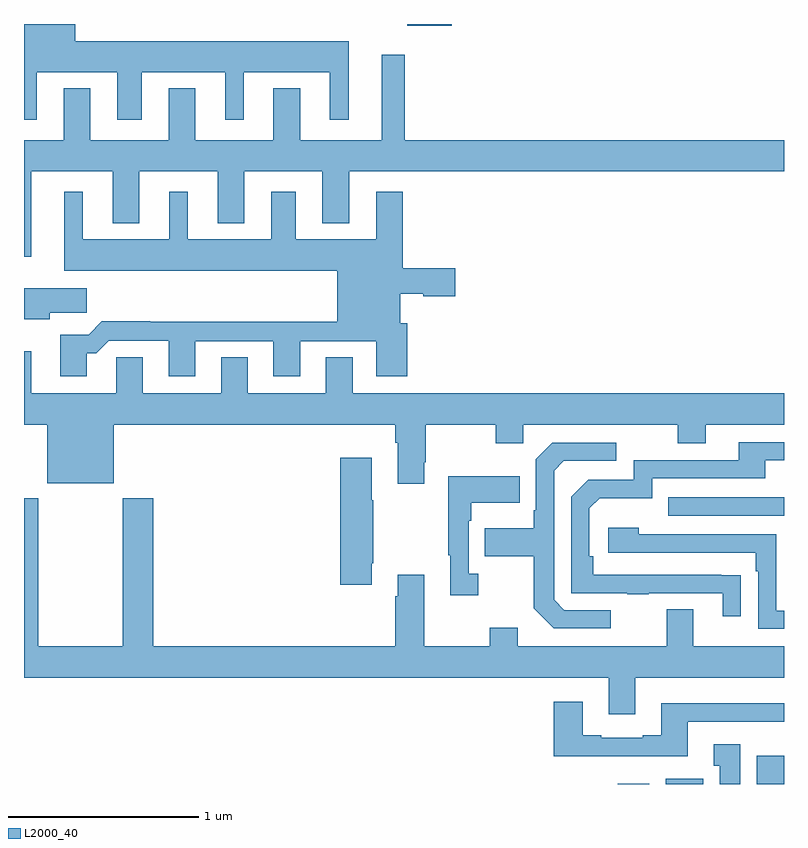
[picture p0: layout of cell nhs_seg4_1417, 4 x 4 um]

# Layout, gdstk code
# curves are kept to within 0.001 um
import gdstk
lib = gdstk.Library(unit=1e-6, precision=1e-09)
def R(c, l, rs):  # rectangles x0, y0, x1, y1
    for r in rs: c.add(gdstk.rectangle(r[:2], r[2:], *l))
def P(c, l, *ps):  # polygons
    for p in ps: c.add(gdstk.Polygon(p, *l))
L2000_40 = (2000, 40)

nhs_seg4_1417 = lib.new_cell('nhs_seg4_1417')
R(nhs_seg4_1417, L2000_40, [(186.125,822.9,186.292,822.901), (186.377,822.9,186.574,822.928), (186.857,822.9,187,823.048), (186.391,824.313,187,824.409), (185.016,826.892,185.251,826.9)])
P(nhs_seg4_1417, L2000_40, [(183.067,826.646),(183.491,826.646),(183.491,826.395),(183.619,826.395),(183.619,826.646),(184.058,826.646),(184.058,826.395),(184.156,826.395),(184.156,826.646),(184.61,826.646),(184.61,826.395),(184.708,826.395),(184.708,826.81),(183.271,826.81),(183.271,826.9),(183,826.9),(183,826.395),(183.067,826.395)],
  [(183.037,826.124),(183.467,826.124),(183.467,825.851),(183.607,825.851),(183.607,826.124),(184.019,826.124),(184.019,825.851),(184.159,825.851),(184.159,826.124),(184.571,826.124),(184.571,825.851),(184.711,825.851),(184.711,826.124),(187,826.124),(187,826.288),(185.005,826.288),(185.005,826.738),(184.883,826.738),(184.883,826.288),(184.453,826.288),(184.453,826.561),(184.313,826.561),(184.313,826.288),(183.901,826.288),(183.901,826.561),(183.761,826.561),(183.761,826.288),(183.349,826.288),(183.349,826.561),(183.209,826.561),(183.209,826.288),(183,826.288),(183,825.675),(183.037,825.675)],
  [(183.331,825.167),(183.38,825.167),(183.447,825.234),(183.761,825.234),(183.761,825.045),(183.901,825.045),(183.901,825.231),(184.313,825.231),(184.313,825.045),(184.453,825.045),(184.453,825.231),(184.853,825.231),(184.853,825.045),(185.018,825.045),(185.018,825.324),(184.981,825.324),(184.981,825.479),(185.101,825.479),(185.101,825.467),(185.269,825.467),(185.269,825.614),(184.994,825.614),(184.994,826.018),(184.853,826.018),(184.853,825.766),(184.429,825.766),(184.429,826.018),(184.301,826.018),(184.301,825.766),(183.862,825.766),(183.862,826.018),(183.764,826.018),(183.764,825.766),(183.31,825.766),(183.31,826.018),(183.212,826.018),(183.212,825.602),(184.649,825.602),(184.649,825.332),(183.665,825.332),(183.665,825.335),(183.41,825.335),(183.34,825.265),(183.191,825.265),(183.191,825.045),(183.331,825.045)],
  [(183.136,825.379),(183.331,825.379),(183.331,825.508),(183,825.508),(183,825.347),(183.136,825.347)],
  [(185.107,824.593),(185.115,824.593),(185.115,824.792),(185.482,824.792),(185.482,824.693),(185.628,824.693),(185.628,824.792),(186.442,824.792),(186.442,824.693),(186.589,824.693),(186.589,824.792),(187,824.792),(187,824.956),(184.729,824.956),(184.729,825.146),(184.589,825.146),(184.589,824.956),(184.177,824.956),(184.177,825.146),(184.037,825.146),(184.037,824.956),(183.625,824.956),(183.625,825.146),(183.486,825.146),(183.486,824.956),(183.037,824.956),(183.037,825.178),(183,825.178),(183,824.792),(183.122,824.792),(183.122,824.483),(183.472,824.483),(183.472,824.792),(184.955,824.792),(184.955,824.696),(184.967,824.696),(184.967,824.481),(185.107,824.481)],
  [(186.773,824),(185.996,824.001),(185.996,824.098),(185.976,824.098),(185.976,824.352),(186.029,824.405),(186.306,824.405),(186.306,824.508),(186.901,824.508),(186.901,824.604),(187,824.604),(187,824.7),(186.761,824.7),(186.761,824.604),(186.21,824.604),(186.21,824.502),(185.97,824.502),(185.88,824.412),(185.88,823.905),(186.175,823.905),(186.175,823.9),(186.287,823.9),(186.287,823.905),(186.677,823.905),(186.677,823.782),(186.773,823.782)],
  [(186.088,823.815),(185.844,823.815),(185.79,823.869),(185.79,824.55),(185.841,824.601),(186.118,824.601),(186.118,824.697),(185.781,824.697),(185.694,824.61),(185.694,824.341),(185.682,824.341),(185.682,824.245),(185.425,824.245),(185.425,824.098),(185.682,824.098),(185.682,823.825),(185.787,823.719),(186.088,823.719)],
  [(184.831,824.062),(184.839,824.062),(184.839,824.393),(184.831,824.393),(184.831,824.617),(184.664,824.617),(184.664,823.95),(184.831,823.95)],
  [(185.392,824.006),(185.34,824.006),(185.34,824.285),(185.353,824.285),(185.353,824.381),(185.609,824.381),(185.609,824.521),(185.232,824.521),(185.232,824.105),(185.243,824.105),(185.243,823.893),(185.392,823.893)],
  [(186.217,823.46),(187,823.46),(187,823.624),(186.523,823.624),(186.523,823.819),(186.383,823.819),(186.383,823.624),(185.599,823.624),(185.599,823.723),(185.452,823.723),(185.452,823.624),(185.107,823.624),(185.107,824.002),(184.967,824.002),(184.967,823.889),(184.955,823.889),(184.955,823.624),(183.68,823.624),(183.68,824.404),(183.52,824.404),(183.52,823.624),(183.075,823.624),(183.075,824.404),(183,824.404),(183,823.46),(186.077,823.46),(186.077,823.266),(186.217,823.266)],
  [(187,823.812),(186.96,823.812),(186.96,824.214),(186.236,824.214),(186.236,824.248),(186.075,824.248),(186.075,824.118),(186.851,824.118),(186.851,824.021),(186.864,824.021),(186.864,823.716),(187,823.716)],
  [(186.493,823.227),(187,823.227),(187,823.324),(186.353,823.324),(186.353,823.156),(186.257,823.156),(186.257,823.143),(186.037,823.143),(186.037,823.156),(185.941,823.156),(185.941,823.333),(185.789,823.333),(185.789,823.046),(186.493,823.046)],
  [(186.769,823.108),(186.629,823.108),(186.629,822.995),(186.662,822.995),(186.662,822.9),(186.769,822.9)])

lib.write_gds('nhs_seg4_1417.gds')
